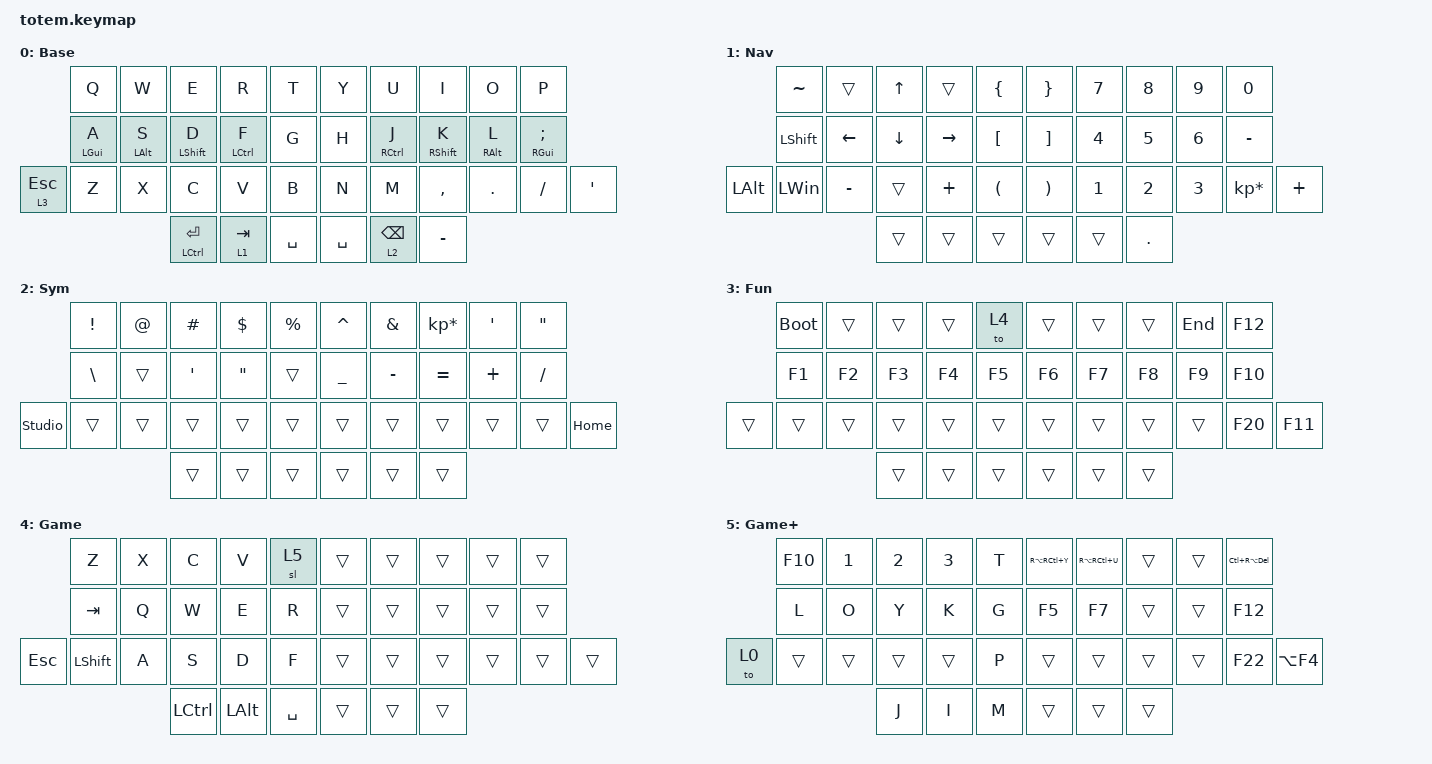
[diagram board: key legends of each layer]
//
//                                                        ▀▀▀▀▀     ▀▀▀▀▀          ▀▀█▀▀
//                                                        ▄▀▀▀▄  ▄  ▄▀▀▀▄  ▄  ▄▀▀▀▄  █  ▄▀▀▀▄
//                                                        █   █  █  █   █  █  █   █  █  █   █
//                                                         ▀▀▀   █   ▀▀▀   █   ▀▀▀   ▀   ▀▀▀
//                                                               █      ▄▄▄█▄▄▄    █   █  
//                                                               ▀      █  █  █     █▄█
//                                                             ▀▀▀▀▀    █  █  █      ▀
//                                                                      ▀  ▀  ▀
//
// ▄▄▄▄▄▄▄▄▄▄▄▄▄▄▄▄▄▄▄▄▄▄▄▄▄▄▄▄▄▄▄▄▄▄▄▄▄▄▄▄▄▄▄▄▄▄▄▄▄▄▄▄▄▄▄▄▄▄▄▄▄▄▄▄▄▄▄▄▄▄▄▄▄▄▄▄▄▄▄▄▄▄▄▄▄▄▄▄▄▄▄▄▄▄▄▄▄▄▄▄▄▄▄▄▄▄▄▄▄▄▄▄▄▄▄▄▄▄▄▄▄▄▄▄▄▄▄▄▄▄▄▄▄▄▄▄▄▄▄▄▄▄▄▄▄▄▄▄▄

#include <behaviors.dtsi>
#include <dt-bindings/zmk/keys.h>

#define Base        0
#define Nav         1
#define Sym         2
#define Fun         3
#define Game        4
#define Gameplus    5

&mt {
    quick-tap-ms = <100>;
    global-quick-tap;
    flavor = "tap-preferred";
    tapping-term-ms = <170>;
};

&lt {
    tapping-term-ms = <240>;
    flavor = "balanced";
    quick-tap-ms = <150>;
};

/ {
    behaviors {
        hm: homerow_mods {
            compatible = "zmk,behavior-hold-tap";
            label = "homerow_mods";
            #binding-cells = <2>;
            flavor = "tap-preferred";
            tapping-term-ms = <200>;
            quick-tap-ms = <150>;
            global-quick-tap;
            bindings = <&kp>, <&kp>;
        };

        hml: homerow_mods_long {
            compatible = "zmk,behavior-hold-tap";
            label = "homerow_mods_long";
            #binding-cells = <2>;
            flavor = "tap-preferred";
            tapping-term-ms = <225>;
            quick-tap-ms = <150>;
            global-quick-tap;
            bindings = <&kp>, <&kp>;
        };
    };

    combos { compatible = "zmk,combos"; };

    keymap {
        compatible = "zmk,keymap";

        Base {
            display-name = "Base";
            bindings = <
              &kp Q        &kp W        &kp E             &kp R               &kp T        &kp Y      &kp U                &kp I              &kp O        &kp P
              &hml LGUI A  &hml LALT S  &hm LEFT_SHIFT D  &hm LEFT_CONTROL F  &kp G        &kp H      &hm RIGHT_CONTROL J  &hm RIGHT_SHIFT K  &hml RALT L  &hml RGUI SEMICOLON
&lt 3 ESCAPE  &kp Z        &kp X        &kp C             &kp V               &kp B        &kp N      &kp M                &kp COMMA          &kp DOT      &kp SLASH            &kp APOSTROPHE
                                        &mt LCTRL RET     &lt 1 TAB           &kp SPACE    &kp SPACE  &lt 2 BSPC           &kp MINUS
            >;
        };

        Nav {
            display-name = "Nav";
            bindings = <
              &kp TILDE       &trans     &kp UP_ARROW  &trans     &kp LBRC    &kp RBRC  &kp NUMBER_7  &kp NUMBER_8  &kp NUMBER_9  &kp NUMBER_0
              &kp LEFT_SHIFT  &kp LEFT   &kp DOWN      &kp RIGHT  &kp LBKT    &kp RBKT  &kp NUMBER_4  &kp NUMBER_5  &kp NUMBER_6  &kp MINUS
&kp LEFT_ALT  &kp LEFT_WIN    &kp MINUS  &trans        &kp PLUS   &kp LPAR    &kp RPAR  &kp NUMBER_1  &kp NUMBER_2  &kp NUMBER_3  &kp KP_MULTIPLY  &kp PLUS
                                         &trans        &trans     &trans      &trans    &trans        &kp DOT
            >;
        };

        Sym {
            display-name = "Sym";
            bindings = <
                &kp EXCL       &kp AT  &kp HASH          &kp DOLLAR         &kp PERCENT    &kp CARET  &kp AMPERSAND  &kp KP_ASTERISK  &kp SQT   &kp DQT
                &kp BACKSLASH  &trans  &kp SINGLE_QUOTE  &kp DOUBLE_QUOTES  &trans         &kp UNDER  &kp MINUS      &kp EQUAL        &kp PLUS  &kp SLASH
&studio_unlock  &trans         &trans  &trans            &trans             &trans         &trans     &trans         &trans           &trans    &trans     &kp HOME
                                       &trans            &trans             &trans         &trans     &trans         &trans
            >;
        };

        Fun {
            display-name = "Fun";
            bindings = <
        &bootloader  &trans  &trans  &trans  &to 4     &trans  &trans  &trans  &kp END  &kp F12
        &kp F1       &kp F2  &kp F3  &kp F4  &kp F5    &kp F6  &kp F7  &kp F8  &kp F9   &kp F10
&trans  &trans       &trans  &trans  &trans  &trans    &trans  &trans  &trans  &trans   &kp F20  &kp F11
                             &trans  &trans  &trans    &trans  &trans  &trans
            >;
        };

        Gaming {
            display-name = "Game";
            bindings = <
            &kp Z           &kp X  &kp C      &kp V         &sl 5        &trans  &trans  &trans  &trans  &trans
            &kp TAB         &kp Q  &kp W      &kp E         &kp R        &trans  &trans  &trans  &trans  &trans
&kp ESCAPE  &kp LEFT_SHIFT  &kp A  &kp S      &kp D         &kp F        &trans  &trans  &trans  &trans  &trans  &trans
                                   &kp LCTRL  &kp LEFT_ALT  &kp SPACE    &trans  &trans  &trans
            >;
        };

        Gaming+ {
            display-name = "Game+";
            bindings = <
       &kp F10  &kp NUMBER_1  &kp NUMBER_2  &kp NUMBER_3  &kp T    &kp RA(RC(Y))  &kp RA(RC(U))  &trans  &trans  &kp LC(RA(DEL))
       &kp L    &kp O         &kp Y         &kp K         &kp G    &kp F5         &kp F7         &trans  &trans  &kp F12
&to 0  &trans   &trans        &trans        &trans        &kp P    &trans         &trans         &trans  &trans  &kp F22          &kp LA(F4)
                              &kp J         &kp I         &kp M    &trans         &trans         &trans
            >;
        };
    };
};
